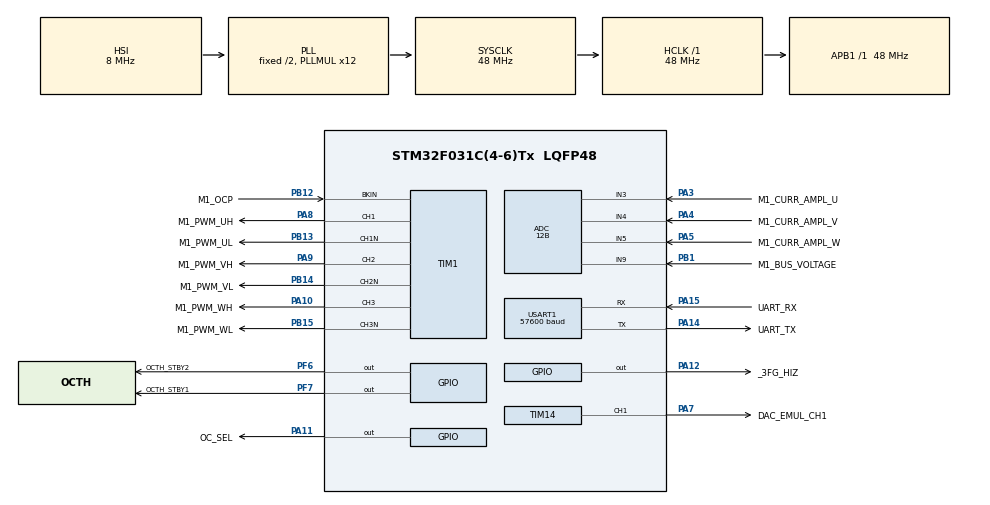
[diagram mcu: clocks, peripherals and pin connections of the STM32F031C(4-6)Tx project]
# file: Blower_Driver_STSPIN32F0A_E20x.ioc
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ADC.ClockPrescaler=ADC_CLOCK_ASYNC_DIV1
ADC.ContinuousConvMode=DISABLE
ADC.DMAContinuousRequests=ENABLE
ADC.DataAlign=ADC_DATAALIGN_LEFT
ADC.DiscontinuousConvMode=DISABLE
ADC.EOCSelection=ADC_EOC_SINGLE_CONV
ADC.EnableAnalogWatchDog=false
ADC.ExternalTrigConv=ADC_EXTERNALTRIGCONV_T1_TRGO
ADC.ExternalTrigConvEdge=ADC_EXTERNALTRIGCONVEDGE_RISING
ADC.LowPowerAutoPowerOff=DISABLE
ADC.LowPowerAutoWait=DISABLE
ADC.Overrun=ADC_OVR_DATA_PRESERVED
ADC.Resolution=ADC_RESOLUTION_12B
ADC.SamplingTime=ADC_SAMPLETIME_7CYCLES_5
ADC.ScanConvMode=ADC_SCAN_DIRECTION_FORWARD
Dma.ADC.0.Direction=DMA_PERIPH_TO_MEMORY
Dma.ADC.0.Instance=DMA1_Channel1
Dma.ADC.0.MemDataAlignment=DMA_MDATAALIGN_HALFWORD
Dma.ADC.0.MemInc=DMA_MINC_ENABLE
Dma.ADC.0.Mode=DMA_CIRCULAR
Dma.ADC.0.PeriphDataAlignment=DMA_PDATAALIGN_HALFWORD
Dma.ADC.0.PeriphInc=DMA_PINC_DISABLE
Dma.ADC.0.Priority=DMA_PRIORITY_HIGH
Dma.Request0=ADC
Dma.Request1=USART1_RX
Dma.Request2=USART1_TX
Dma.USART1_RX.1.Direction=DMA_PERIPH_TO_MEMORY
Dma.USART1_RX.1.Instance=DMA1_Channel3
Dma.USART1_RX.1.MemDataAlignment=DMA_MDATAALIGN_BYTE
Dma.USART1_RX.1.MemInc=DMA_MINC_ENABLE
Dma.USART1_RX.1.Mode=DMA_NORMAL
Dma.USART1_RX.1.PeriphDataAlignment=DMA_PDATAALIGN_BYTE
Dma.USART1_RX.1.PeriphInc=DMA_PINC_DISABLE
Dma.USART1_RX.1.Priority=DMA_PRIORITY_MEDIUM
Dma.USART1_TX.2.Direction=DMA_MEMORY_TO_PERIPH
Dma.USART1_TX.2.Instance=DMA1_Channel2
Dma.USART1_TX.2.MemDataAlignment=DMA_MDATAALIGN_BYTE
Dma.USART1_TX.2.MemInc=DMA_MINC_ENABLE
Dma.USART1_TX.2.Mode=DMA_NORMAL
Dma.USART1_TX.2.PeriphDataAlignment=DMA_PDATAALIGN_BYTE
Dma.USART1_TX.2.PeriphInc=DMA_PINC_DISABLE
Dma.USART1_TX.2.Priority=DMA_PRIORITY_LOW
ExtraMW=MotorControl
ExtraMW.MotorControl.Config=MotorControl
ExtraMW.MotorControl.Mode=MotorControl
ExtraMW.MotorControl.Root=MCSDK_v5.4.8/MotorControl
ExtraMW.MotorControl.Template=templates
Mcu.Family=STM32F0
Mcu.Name=STM32F031C(4-6)Tx
Mcu.Package=LQFP48
MotorControl.ADC_1_PERIPH=ADC1
MotorControl.ADC_2_PERIPH=ADC2
MotorControl.ADC_AHBPERIPH=RCC_AHBPeriph_ADC12
MotorControl.ADC_CLOCK_WB_DIV=1
MotorControl.ADC_CLOCK_WB_FREQ=12
MotorControl.ADC_PERIPH=ADC1
MotorControl.ADC_REFERENCE_VOLTAGE=3.30
MotorControl.ALIGNMENT_ANGLE_DEG=90
MotorControl.ALIGNMENT_DURATION=700
MotorControl.AMPLIFICATION_GAIN=7.70
MotorControl.ANGC={0,0,0,0,0,0,0,0}
MotorControl.BEMF_CONSISTENCY_GAIN=64
MotorControl.BEMF_CONSISTENCY_TOL=64
MotorControl.BKIN1_FILTER=0
MotorControl.BKIN2_FILTER=0
MotorControl.BKIN2_MODE=NONE
MotorControl.BKIN_MODE=EXT_MODE
MotorControl.BOARD=CUSTOM
MotorControl.BRKIN2_GPIO_AF=GPIO_AF_2
MotorControl.BRKIN_GPIO_AF=GPIO_AF_2
MotorControl.BUS_VOLTAGE_READING=true
MotorControl.CCMRAM_ENABLED=false
MotorControl.CLOCK_FREQUENCY=CPU_CLK_48_MHZ
MotorControl.CLOCK_SOURCE=INTERNAL
MotorControl.CONSTANT1_D=3416
MotorControl.CONSTANT1_Q=3416
MotorControl.CONSTANT2_QD=1110
MotorControl.CORD_BEMF_CONSISTENCY_GAIN=64
MotorControl.CORD_BEMF_CONSISTENCY_TOL=64
MotorControl.CORD_F1=1024
MotorControl.CORD_F2=16384
MotorControl.CORD_FIFO_DEPTH_01HZ=64
MotorControl.CORD_FIFO_DEPTH_DPP=64
MotorControl.CORD_GAIN1=-752
MotorControl.CORD_GAIN2=5187
MotorControl.CORD_MAX_ACCEL_DPPP=39
MotorControl.CORD_MEAS_ERRORS_BEFORE_FAULTS=12
MotorControl.CORD_VARIANCE_THRESHOLD=4
MotorControl.CPU_CLK_48_MHZ=true
MotorControl.CTRBDID=10010
MotorControl.CUBE_MX_VER=6.6.1
MotorControl.CURRENT_READING_TOPOLOGY=THREE_SHUNT
MotorControl.CURR_SAMPLING_TIME=1
MotorControl.DAC_EMULATED=true
MotorControl.DAC_EMULATED_1=CH1
MotorControl.DAC_FUNCTIONALITY=true
MotorControl.DAC_TIMER_CH1_GPIO_PIN=LL_GPIO_PIN_7
MotorControl.DAC_TIMER_CH1_GPIO_PORT=GPIOA
MotorControl.DAC_TIMER_CH2_GPIO_PIN=LL_GPIO_PIN_0
MotorControl.DAC_TIMER_CH2_GPIO_PORT=GPIOA
MotorControl.DAC_TIMER_SELECTION=TIM14
MotorControl.DC_CURRENT_RS_MEAS=3.50
MotorControl.DEBUG_DAC_CH1=true
MotorControl.DEBUG_DAC_CH2=false
MotorControl.DEFAULT_CONTROL_MODE=STC_SPEED_MODE
MotorControl.DEFAULT_DAC_CHANNEL_1=MC_PROTOCOL_REG_OBS_EL_ANGLE
MotorControl.DEFAULT_DAC_CHANNEL_2=MC_PROTOCOL_REG_I_B
MotorControl.DEFAULT_DAC_MOTOR=0
MotorControl.DEFAULT_FLUX_COMPONENT=0
MotorControl.DEFAULT_TARGET_SPEED_RPM=10000
MotorControl.DEFAULT_TORQUE_COMPONENT=0
MotorControl.DISSIPATIVE_BRAKE_POLARITY=DOUT_ACTIVE_HIGH
MotorControl.DRIVES_NUMBER_SELECTION=SINGLEDRIVE
MotorControl.EMERGENCY2_STOP_GPIO_PIN=LL_GPIO_PIN_12
MotorControl.EMERGENCY2_STOP_GPIO_PORT=GPIOB
MotorControl.EMERGENCY_STOP_GPIO_PIN=LL_GPIO_PIN_12
MotorControl.EMERGENCY_STOP_GPIO_PORT=GPIOB
MotorControl.ENABLE_SL_ALGO_FROM_PHASE=1
MotorControl.ENCODER_AVAILABLE=true
MotorControl.ENCODER_PPR=400
MotorControl.ENC_AVERAGING_FIFO_DEPTH=16
MotorControl.ENC_A_GPIO_PIN=LL_GPIO_PIN_0
MotorControl.ENC_A_GPIO_PORT=GPIOA
MotorControl.ENC_B_GPIO_PIN=LL_GPIO_PIN_1
MotorControl.ENC_B_GPIO_PORT=GPIOA
MotorControl.ENC_ICx_FILTER=34
MotorControl.ENC_INVERT_SPEED=false
MotorControl.ENC_MEAS_ERRORS_BEFORE_FAULTS=12
MotorControl.ENC_TIMER_REMAPPING=NO_REMAP_TIM2
MotorControl.ENC_TIMER_SELECTION=ENC_TIM2
MotorControl.ENC_USE_CH3=false
MotorControl.EXT_CLOCK_FREQUENCY=INT_RC_OSC
MotorControl.F1=1024
MotorControl.F2=16384
MotorControl.FEEDBACK_NET_FILTERING=false
MotorControl.FEED_FORWARD_CURRENT_REG_ENABLING=false
MotorControl.FINAL_I_ALIGNMENT=11927
MotorControl.FLUX_WEAKENING_ENABLING=false
MotorControl.FW_KIDIV=32768
MotorControl.FW_KI_GAIN=5000
MotorControl.FW_KPDIV=32768
MotorControl.FW_KP_GAIN=3000
MotorControl.FW_VOLTAGE_REF=985
MotorControl.GAIN1=-752
MotorControl.GAIN2=5187
MotorControl.H1_GPIO_PIN=LL_GPIO_PIN_0
MotorControl.H1_GPIO_PORT=GPIOA
MotorControl.H2_GPIO_PIN=LL_GPIO_PIN_1
MotorControl.H2_GPIO_PORT=GPIOA
MotorControl.H3_GPIO_PIN=LL_GPIO_PIN_2
MotorControl.H3_GPIO_PORT=GPIOA
MotorControl.HALL_AVERAGING_FIFO_DEPTH=6
MotorControl.HALL_ICx_FILTER=62
MotorControl.HALL_MEAS_ERRORS_BEFORE_FAULTS=12
MotorControl.HALL_MTPA=false
MotorControl.HALL_PHASE_SHIFT=300
MotorControl.HALL_SENSORS_AVAILABLE=true
MotorControl.HALL_SENSORS_PLACEMENT=DEGREES_120
MotorControl.HALL_TIMER_REMAPPING=NO_REMAP_TIM2
MotorControl.HALL_TIMER_SELECTION=HALL_TIM2
MotorControl.HFI_AMPLITUDE=25
MotorControl.HFI_DC_0_COEFF=0.00146
MotorControl.HFI_DC_1_COEFF=0.002921
MotorControl.HFI_DC_2_COEFF=0.00146
MotorControl.HFI_DC_3_COEFF=1.889033
MotorControl.HFI_DC_4_COEFF=-0.894874
MotorControl.HFI_DEBUG_MODE=false
MotorControl.HFI_FREQUENCY=400
MotorControl.HFI_HIFRAMPLSCAN=25
MotorControl.HFI_HP_ID_0_COEFF=0.914969
MotorControl.HFI_HP_ID_1_COEFF=-1.829938
MotorControl.HFI_HP_ID_2_COEFF=0.914969
MotorControl.HFI_HP_ID_3_COEFF=1.822695
MotorControl.HFI_HP_ID_4_COEFF=-0.837182
MotorControl.HFI_IDH_DELAY=32400
MotorControl.HFI_LOCKFREQ=47
MotorControl.HFI_LP_ID_0_COEFF=0.011649
MotorControl.HFI_LP_ID_1_COEFF=0.023299
MotorControl.HFI_LP_ID_2_COEFF=0.011649
MotorControl.HFI_LP_ID_3_COEFF=1.672313
MotorControl.HFI_LP_ID_4_COEFF=-0.718911
MotorControl.HFI_MAXANGLEDIFF=3640
MotorControl.HFI_MINIMUM_SPEED_RPM=402
MotorControl.HFI_NOTCH_IQD_0_COEFF=0.957268
MotorControl.HFI_NOTCH_IQD_1_COEFF=-1.883769
MotorControl.HFI_NOTCH_IQD_2_COEFF=0.957268
MotorControl.HFI_NOTCH_IQD_3_COEFF=1.883769
MotorControl.HFI_NOTCH_IQD_4_COEFF=-0.914537
MotorControl.HFI_NSDETPOINTSSKIP=10
MotorControl.HFI_NSMAXDETPOINTS=20
MotorControl.HFI_NS_MIN_SAT_DIFF=0
MotorControl.HFI_PID_KIDIV=32768
MotorControl.HFI_PID_KI_DEFAULT=400
MotorControl.HFI_PID_KPDIV=16384
MotorControl.HFI_PID_KP_DEFAULT=800
MotorControl.HFI_PLL_KI_DEFAULT=0.00400
MotorControl.HFI_PLL_KP_DEFAULT=0.00060
MotorControl.HFI_RESTARTTIMESEC=0.1
MotorControl.HFI_RESTART_RPM_TH=(((HFI_STO_RPM_TH)+(STO_HFI_RPM_TH))/2)
MotorControl.HFI_REVERT_DIRECTION=true
MotorControl.HFI_SCANROTATIONSNO=3
MotorControl.HFI_SPD_BUFFER_DEPTH_01HZ=64
MotorControl.HFI_STEPANGLE=3640
MotorControl.HFI_STO_RPM_TH=OBS_MINIMUM_SPEED_RPM
MotorControl.HFI_WAITAFTERNS2=4
MotorControl.HFI_WAITBEFORESN=6
MotorControl.HFI_WAITSYNCH=20
MotorControl.HFI_WAITTRACK=20
MotorControl.HIGH_SIDE_BRAKE_STATE=false
MotorControl.HIGH_SIDE_IDLE_STATE=false
MotorControl.HW_COMPLEMENTED_LOW_SIDE=false
MotorControl.HW_DEAD_TIME_NS=100
MotorControl.HW_OV_CURRENT_PROT_BYPASS=false
MotorControl.ID_DEMAG=-21407
MotorControl.INRUSH_CURRLIMIT_AT_POWER_ON=true
MotorControl.INRUSH_CURRLIMIT_CHANGE_AFTER_MS=1000
MotorControl.INRUSH_CURRLIMIT_ENABLING=false
MotorControl.INRUSH_CURRLIMIT_GPIO_PIN=LL_GPIO_PIN_4
MotorControl.INRUSH_CURRLIMIT_GPIO_PORT=GPIOE
MotorControl.INRUSH_CURR_LIMITER_POLARITY=DOUT_ACTIVE_HIGH
MotorControl.INTERNAL_OVERCURRENTPROTECTION=false
MotorControl.INTERNAL_OVERVOLTAGEPROTECTION=false
MotorControl.INT_RC_OSC=true
MotorControl.IPs=NVIC,RCC,SYS,MotorControl,TIM1,ADC,DMA,TIM14,USART1
MotorControl.IQMAX=21407
MotorControl.LCD_JOYSTICK_FUNCTIONALITY=false
MotorControl.LCD_MODE=LCD_FULL
MotorControl.LDLQ_RATIO=1.000
MotorControl.LOW_SIDE_BRAKE_STATE=false
MotorControl.LOW_SIDE_IDLE_STATE=false
MotorControl.LOW_SIDE_SIGNALS_ENABLING=LS_PWM_TIMER
MotorControl.LS=0.000028
MotorControl.MAX_APPLICATION_SPEED=55000
MotorControl.MAX_MODULATION_83_PER_CENT=true
MotorControl.MAX_MODULATION_INDEX=MAX_MODULATION_83_PER_CENT
MotorControl.MCU=STSPIN32F0
MotorControl.MCU_TYPE=STSPIN32F0
MotorControl.MC_WORKBENCH_VERSION=5.4.8.21553
MotorControl.MEAS_ERRORS_BEFORE_FAULTS=12
MotorControl.MIN_APPLICATION_SPEED=0
MotorControl.MOTOR_MAX_SPEED_RPM=55000
MotorControl.MOTOR_TYPE=PMSM
MotorControl.MOTOR_VOLTAGE_CONSTANT=0.1
MotorControl.MTPA_ENABLING=false
MotorControl.NB_CONSECUTIVE_TESTS=2
MotorControl.NOMINAL_BUS_VOLTAGE_V=16
MotorControl.NOMINAL_CURRENT=21407
MotorControl.OBS_MEAS_ERRORS_BEFORE_FAULTS=12
MotorControl.OBS_MINIMUM_SPEED_RPM=9000
MotorControl.OCPA_INVERTINGINPUT=COMPX_InvertingInput_VREF
MotorControl.OCPA_INVERTINGINPUT_GPIO_PIN=LL_GPIO_PIN_4
MotorControl.OCPA_INVERTINGINPUT_GPIO_PORT=GPIOA
MotorControl.OCPA_INVERTINGINPUT_MODE=INT_MODE
MotorControl.OCPA_NONINVERTINGINPUT=COMP1_NonInvertingInput_PA1
MotorControl.OCPA_NONINVERTINGINPUT_GPIO_PIN=LL_GPIO_PIN_1
MotorControl.OCPA_NONINVERTINGINPUT_GPIO_PORT=GPIOA
MotorControl.OCPA_OUTPUT=COMP_Output_TIM1BKIN2
MotorControl.OCPA_OUTPUTPOL=COMP_OutputPol_NonInverted
MotorControl.OCPA_OUTPUT_GPIO_AF=GPIO_AF_2
MotorControl.OCPA_OUTPUT_GPIO_PIN=LL_GPIO_PIN_0
MotorControl.OCPA_OUTPUT_GPIO_PORT=GPIOA
MotorControl.OCPA_OUTPUT_MODE=INT_MODE
MotorControl.OCPA_SELECTION=COMP1
MotorControl.OCPB_INVERTINGINPUT=COMPX_InvertingInput_VREF
MotorControl.OCPB_INVERTINGINPUT_GPIO_PIN=LL_GPIO_PIN_4
MotorControl.OCPB_INVERTINGINPUT_GPIO_PORT=GPIOA
MotorControl.OCPB_INVERTINGINPUT_MODE=INT_MODE
MotorControl.OCPB_NONINVERTINGINPUT=COMP2_NonInvertingInput_PA7
MotorControl.OCPB_NONINVERTINGINPUT_GPIO_PIN=LL_GPIO_PIN_7
MotorControl.OCPB_NONINVERTINGINPUT_GPIO_PORT=GPIOA
MotorControl.OCPB_OUTPUT=COMP_Output_TIM1BKIN2
MotorControl.OCPB_OUTPUTPOL=COMP_OutputPol_NonInverted
MotorControl.OCPB_OUTPUT_GPIO_AF=GPIO_AF_2
MotorControl.OCPB_OUTPUT_GPIO_PIN=LL_GPIO_PIN_2
MotorControl.OCPB_OUTPUT_GPIO_PORT=GPIOA
MotorControl.OCPB_OUTPUT_MODE=INT_MODE
MotorControl.OCPB_SELECTION=COMP2
MotorControl.OCPC_INVERTINGINPUT=COMPX_InvertingInput_VREF
MotorControl.OCPC_INVERTINGINPUT_GPIO_PIN=LL_GPIO_PIN_4
MotorControl.OCPC_INVERTINGINPUT_GPIO_PORT=GPIOA
MotorControl.OCPC_INVERTINGINPUT_MODE=INT_MODE
MotorControl.OCPC_NONINVERTINGINPUT=COMP3_NonInvertingInput_PB14
MotorControl.OCPC_NONINVERTINGINPUT_GPIO_PIN=LL_GPIO_PIN_14
MotorControl.OCPC_NONINVERTINGINPUT_GPIO_PORT=GPIOB
MotorControl.OCPC_OUTPUT=COMP_Output_TIM1BKIN2
MotorControl.OCPC_OUTPUTPOL=COMP_OutputPol_NonInverted
MotorControl.OCPC_OUTPUT_GPIO_AF=GPIO_AF_2
MotorControl.OCPC_OUTPUT_GPIO_PIN=LL_GPIO_PIN_8
MotorControl.OCPC_OUTPUT_GPIO_PORT=GPIOC
MotorControl.OCPC_OUTPUT_MODE=INT_MODE
MotorControl.OCPC_SELECTION=COMP3
MotorControl.OCPREF=23830
MotorControl.OCP_COMP_THRESHOLD=0.10
MotorControl.OCP_FILTER=COMP_Mode_HighSpeed
MotorControl.OCP_INVERTINGINPUT=COMPX_InvertingInput_VREF
MotorControl.OCP_INVERTINGINPUT_GPIO_PIN=LL_GPIO_PIN_4
MotorControl.OCP_INVERTINGINPUT_GPIO_PORT=GPIOA
MotorControl.OCP_INVERTINGINPUT_MODE=INT_MODE
MotorControl.OCP_NONINVERTINGINPUT=COMP2_NonInvertingInput_PA7
MotorControl.OCP_NONINVERTINGINPUT_GPIO_PIN=LL_GPIO_PIN_7
MotorControl.OCP_NONINVERTINGINPUT_GPIO_PORT=GPIOA
MotorControl.OCP_OUTPUT=COMP_Output_TIM1BKIN2
MotorControl.OCP_OUTPUTPOL=COMP_OutputPol_NonInverted
MotorControl.OCP_OUTPUT_GPIO_AF=GPIO_AF_2
MotorControl.OCP_OUTPUT_GPIO_PIN=LL_GPIO_PIN_2
MotorControl.OCP_OUTPUT_GPIO_PORT=GPIOA
MotorControl.OCP_OUTPUT_MODE=INT_MODE
MotorControl.OCP_SELECTION=COMP2
MotorControl.OFST={0,0,0,0,0,0,0,0}
MotorControl.ON_OVER_VOLTAGE=TURN_OFF_PWM
MotorControl.OPAMP1_INVERTINGINPUT=OPAMP1_InvertingInput_PGA
MotorControl.OPAMP1_INVERTINGINPUT_GPIO_PIN=LL_GPIO_PIN_3
MotorControl.OPAMP1_INVERTINGINPUT_GPIO_PORT=GPIOA
MotorControl.OPAMP1_INVERTINGINPUT_MODE=INT_MODE
MotorControl.OPAMP1_NONINVERTINGINPUT_PHA=OPAMP1_NonInvertingInput_PA1
MotorControl.OPAMP1_NONINVERTINGINPUT_PHA_GPIO_PIN=LL_GPIO_PIN_1
MotorControl.OPAMP1_NONINVERTINGINPUT_PHA_GPIO_PORT=GPIOA
MotorControl.OPAMP1_NONINVERTINGINPUT_PHB=OPAMP1_NonInvertingInput_PA7
MotorControl.OPAMP1_NONINVERTINGINPUT_PHB_GPIO_PIN=LL_GPIO_PIN_7
MotorControl.OPAMP1_NONINVERTINGINPUT_PHB_GPIO_PORT=GPIOA
MotorControl.OPAMP1_OUT_GPIO_PIN=LL_GPIO_PIN_2
MotorControl.OPAMP1_OUT_GPIO_PORT=GPIOA
MotorControl.OPAMP1_SELECTION=OPAMP1
MotorControl.OPAMP2_INVERTINGINPUT=OPAMP2_InvertingInput_PGA
MotorControl.OPAMP2_INVERTINGINPUT_GPIO_PIN=LL_GPIO_PIN_5
MotorControl.OPAMP2_INVERTINGINPUT_GPIO_PORT=GPIOC
MotorControl.OPAMP2_INVERTINGINPUT_MODE=INT_MODE
MotorControl.OPAMP2_NONINVERTINGINPUT_PHA=OPAMP2_NonInvertingInput_PB14
MotorControl.OPAMP2_NONINVERTINGINPUT_PHA_GPIO_PIN=LL_GPIO_PIN_14
MotorControl.OPAMP2_NONINVERTINGINPUT_PHA_GPIO_PORT=GPIOB
MotorControl.OPAMP2_NONINVERTINGINPUT_PHB=OPAMP2_NonInvertingInput_PA7
MotorControl.OPAMP2_NONINVERTINGINPUT_PHB_GPIO_PIN=LL_GPIO_PIN_7
MotorControl.OPAMP2_NONINVERTINGINPUT_PHB_GPIO_PORT=GPIOA
MotorControl.OPAMP2_NONINVERTINGINPUT_PHC=OPAMP2_NonInvertingInput_PB14
MotorControl.OPAMP2_NONINVERTINGINPUT_PHC_GPIO_PIN=LL_GPIO_PIN_14
MotorControl.OPAMP2_NONINVERTINGINPUT_PHC_GPIO_PORT=GPIOB
MotorControl.OPAMP2_OUT_GPIO_PIN=LL_GPIO_PIN_6
MotorControl.OPAMP2_OUT_GPIO_PORT=GPIOA
MotorControl.OPAMP2_SELECTION=OPAMP2
MotorControl.OPAMP3_INVERTINGINPUT=OPAMP1_InvertingInput_PGA
MotorControl.OPAMP3_INVERTINGINPUT_GPIO_PIN=LL_GPIO_PIN_0
MotorControl.OPAMP3_INVERTINGINPUT_GPIO_PORT=GPIOA
MotorControl.OPAMP3_INVERTINGINPUT_MODE=INT_MODE
MotorControl.OPAMP3_SELECTION=OPAMP1
MotorControl.OPAMP_INVERTINGINPUT=OPAMP1_InvertingInput_PGA
MotorControl.OPAMP_INVERTINGINPUT_GPIO_PIN=LL_GPIO_PIN_3
MotorControl.OPAMP_INVERTINGINPUT_GPIO_PORT=GPIOA
MotorControl.OPAMP_INVERTINGINPUT_MODE=INT_MODE
MotorControl.OPAMP_NONINVERTINGINPUT=OPAMP1_NonInvertingInput_PA7
MotorControl.OPAMP_NONINVERTINGINPUT_GPIO_PIN=LL_GPIO_PIN_7
MotorControl.OPAMP_NONINVERTINGINPUT_GPIO_PORT=GPIOA
MotorControl.OPAMP_OUT_GPIO_PIN=LL_GPIO_PIN_2
MotorControl.OPAMP_OUT_GPIO_PORT=GPIOA
MotorControl.OPAMP_PGACONNECT=OPAMP_PGAConnect_No
MotorControl.OPAMP_PGAGAIN=OPAMP_OPAMP_PGAGain_2
MotorControl.OPAMP_SELECTION=OPAMP1
MotorControl.OPAMP_TYPE_GAIN=INTERNAL
MotorControl.OPEN_LOOP_FOC=false
MotorControl.OPEN_LOOP_K=44
MotorControl.OPEN_LOOP_OFF=4400
MotorControl.OPEN_LOOP_SPEED_RAMP_DURATION_MS=1000
MotorControl.OPEN_LOOP_SPEED_RPM=100
MotorControl.OPEN_LOOP_VF=false
MotorControl.OPEN_LOOP_VOLTAGE_d=6000
MotorControl.OVERCURR_FEEDBACK_POLARITY=EMSTOP_ACTIVE_HIGH
MotorControl.OVERCURR_PROTECTION_HW_DISABLING=DOUT_ACTIVE_HIGH
MotorControl.OVPREF=23830
MotorControl.OVP_FILTER=COMP_Mode_HighSpeed
MotorControl.OVP_INVERTINGINPUT=COMPX_InvertingInput_VREF
MotorControl.OVP_INVERTINGINPUT_GPIO_PIN=LL_GPIO_PIN_4
MotorControl.OVP_INVERTINGINPUT_GPIO_PORT=GPIOA
MotorControl.OVP_INVERTINGINPUT_MODE=INT_MODE
MotorControl.OVP_NONINVERTINGINPUT=COMP7_NonInvertingInput_PA0
MotorControl.OVP_NONINVERTINGINPUT_GPIO_PIN=LL_GPIO_PIN_0
MotorControl.OVP_NONINVERTINGINPUT_GPIO_PORT=GPIOA
MotorControl.OVP_OUTPUT=COMP_Output_TIM1BKIN
MotorControl.OVP_OUTPUTPOL=COMP_OutputPol_NonInverted
MotorControl.OVP_OUTPUT_GPIO_AF=GPIO_AF_2
MotorControl.OVP_OUTPUT_GPIO_PIN=LL_GPIO_PIN_2
MotorControl.OVP_OUTPUT_GPIO_PORT=GPIOC
MotorControl.OVP_OUTPUT_MODE=INT_MODE
MotorControl.OVP_SELECTION=COMP7
MotorControl.OV_CURR_BYPASS_GPIO_PIN=LL_GPIO_PIN_5
MotorControl.OV_CURR_BYPASS_GPIO_PORT=GPIOE
MotorControl.OV_TEMPERATURE_HYSTERESIS_C=10
MotorControl.OV_TEMPERATURE_PROT_ENABLING=false
MotorControl.OV_TEMPERATURE_THRESHOLD_C=70
MotorControl.OV_VOLTAGE_PROT_ENABLING=true
MotorControl.OV_VOLTAGE_THRESHOLD_V=45
MotorControl.PHASE1_DURATION=500
MotorControl.PHASE1_FINAL_CURRENT=6116
MotorControl.PHASE1_FINAL_SPEED_RPM=0
MotorControl.PHASE2_DURATION=3000
MotorControl.PHASE2_FINAL_CURRENT=6116
MotorControl.PHASE2_FINAL_SPEED_RPM=10000
MotorControl.PHASE3_DURATION=0
MotorControl.PHASE3_FINAL_CURRENT=6116
MotorControl.PHASE3_FINAL_SPEED_RPM=10000
MotorControl.PHASE4_DURATION=0
MotorControl.PHASE4_FINAL_CURRENT=6116
MotorControl.PHASE4_FINAL_SPEED_RPM=10000
MotorControl.PHASE5_DURATION=0
MotorControl.PHASE5_FINAL_CURRENT=6116
MotorControl.PHASE5_FINAL_SPEED_RPM=10000
MotorControl.PHASE_CURRENTS_ADC=ADC1_2
MotorControl.PHASE_CURRENTS_CHANNEL=ADC_CHANNEL_9
MotorControl.PHASE_CURRENTS_GPIO_PIN=LL_GPIO_PIN_0
MotorControl.PHASE_CURRENTS_GPIO_PORT=GPIOA
MotorControl.PHASE_UH_GPIO_AF=GPIO_AF_2
MotorControl.PHASE_UH_GPIO_PIN=LL_GPIO_PIN_8
MotorControl.PHASE_UH_GPIO_PORT=GPIOA
MotorControl.PHASE_UH_POLARITY=H_ACTIVE_HIGH
MotorControl.PHASE_UL_GPIO_AF=GPIO_AF_2
MotorControl.PHASE_UL_GPIO_PIN=LL_GPIO_PIN_13
MotorControl.PHASE_UL_GPIO_PORT=GPIOB
MotorControl.PHASE_UL_POLARITY=L_ACTIVE_HIGH
MotorControl.PHASE_U_CURR_ADC=ADC1
MotorControl.PHASE_U_CURR_CHANNEL=ADC_CHANNEL_3
MotorControl.PHASE_U_GPIO_PIN=LL_GPIO_PIN_3
MotorControl.PHASE_U_GPIO_PORT=GPIOA
MotorControl.PHASE_VH_GPIO_AF=GPIO_AF_2
MotorControl.PHASE_VH_GPIO_PIN=LL_GPIO_PIN_9
MotorControl.PHASE_VH_GPIO_PORT=GPIOA
MotorControl.PHASE_VH_POLARITY=H_ACTIVE_HIGH
MotorControl.PHASE_VL_GPIO_AF=GPIO_AF_2
MotorControl.PHASE_VL_GPIO_PIN=LL_GPIO_PIN_14
MotorControl.PHASE_VL_GPIO_PORT=GPIOB
MotorControl.PHASE_VL_POLARITY=L_ACTIVE_HIGH
MotorControl.PHASE_V_CURR_ADC=ADC1
MotorControl.PHASE_V_CURR_CHANNEL=ADC_CHANNEL_4
MotorControl.PHASE_V_GPIO_PIN=LL_GPIO_PIN_4
MotorControl.PHASE_V_GPIO_PORT=GPIOA
MotorControl.PHASE_WH_GPIO_AF=GPIO_AF_2
MotorControl.PHASE_WH_GPIO_PIN=LL_GPIO_PIN_10
MotorControl.PHASE_WH_GPIO_PORT=GPIOA
MotorControl.PHASE_WH_POLARITY=H_ACTIVE_HIGH
MotorControl.PHASE_WL_GPIO_AF=GPIO_AF_2
MotorControl.PHASE_WL_GPIO_PIN=LL_GPIO_PIN_15
MotorControl.PHASE_WL_GPIO_PORT=GPIOB
MotorControl.PHASE_WL_POLARITY=L_ACTIVE_HIGH
MotorControl.PHASE_W_CURR_ADC=ADC1
MotorControl.PHASE_W_CURR_CHANNEL=ADC_CHANNEL_5
MotorControl.PHASE_W_GPIO_PIN=LL_GPIO_PIN_5
MotorControl.PHASE_W_GPIO_PORT=GPIOA
MotorControl.PID_FLUX_KD_DEFAULT=100
MotorControl.PID_FLUX_KI_DEFAULT=1881
MotorControl.PID_FLUX_KP_DEFAULT=1843
MotorControl.PID_SPEED_KD_DEFAULT=0
MotorControl.PID_SPEED_KI_DEFAULT=3230
MotorControl.PID_SPEED_KP_DEFAULT=3155
MotorControl.PID_TORQUE_KD_DEFAULT=100
MotorControl.PID_TORQUE_KI_DEFAULT=1881
MotorControl.PID_TORQUE_KP_DEFAULT=1843
MotorControl.PLL_KI_GAIN=211
MotorControl.PLL_KP_GAIN=4180
MotorControl.POLE_PAIR_NUM=2
MotorControl.POSITION_CTRL_ENABLING=false
MotorControl.PWBDID=10010
MotorControl.PWM_FREQUENCY=28000
MotorControl.PWM_TIMER_REMAPPING=PWM_NO_REMAP
MotorControl.PWM_TIMER_SELECTION=PWM_TIM1
MotorControl.REGCONVADC=ADC1
MotorControl.REGULATION_EXECUTION_RATE=2
MotorControl.RS=0.40
MotorControl.RSHUNT=0.04000
MotorControl.RTOS=NONE
MotorControl.R_BRAKE_GPIO_PIN=LL_GPIO_PIN_5
MotorControl.R_BRAKE_GPIO_PORT=GPIOE
MotorControl.R_BRAKE_SWITCH_OFF_THRES_V=36
MotorControl.SEGDIV=0
MotorControl.SERIAL_COMMUNICATION=false
MotorControl.SERIAL_COM_CHANNEL1=MC_PROTOCOL_REG_I_A
MotorControl.SERIAL_COM_CHANNEL2=MC_PROTOCOL_REG_I_A
MotorControl.SERIAL_COM_MODE=COM_BIDIRECTIONAL
MotorControl.SERIAL_COM_MOTOR=0
MotorControl.SHARED_SIGNAL_ENABLE=false
MotorControl.SINGLEDRIVE=true
MotorControl.SPD_DIFFERENTIAL_TERM_ENABLING=false
MotorControl.SPEED_BAND_LOWER_LIMIT=15
MotorControl.SPEED_BAND_UPPER_LIMIT=17
MotorControl.SPEED_FEEDBACK_CHECK=true
MotorControl.SPEED_LOOP_FREQUENCY_HZ=500
MotorControl.SPEED_SENSOR_SELECTION=STATE_OBSERVER_PLL
MotorControl.SP_KDDIV=16
MotorControl.SP_KIDIV=16384
MotorControl.SP_KPDIV=32
MotorControl.STARTING_ANGLE_DEG=90
MotorControl.START_STOP_BTN=false
MotorControl.START_STOP_GPIO_PIN=LL_GPIO_PIN_0
MotorControl.START_STOP_GPIO_PORT=GPIOF
MotorControl.START_STOP_POLARITY=DIN_ACTIVE_LOW
MotorControl.START_STOP_POLARITY_EDGE=GPIO_PULLUP
MotorControl.STATE_OBSERVER_PLL=true
MotorControl.STO_FIFO_DEPTH_01HZ=64
MotorControl.STO_FIFO_DEPTH_DPP=64
MotorControl.STO_HFI_RPM_TH=460
MotorControl.STSPIN32F0=true
MotorControl.SW_DEADTIME_NS=700
MotorControl.SW_OV_CURRENT_PROT_ENABLING=true
MotorControl.T0_C=25
MotorControl.TEMPERATURE_READING=false
MotorControl.TEMP_ADC_SAMPLING_TIME=1
MotorControl.TEMP_FDBK_ADC=ADC1
MotorControl.TEMP_FDBK_CHANNEL=ADC_CHANNEL_5
MotorControl.TEMP_FDBK_GPIO_PIN=LL_GPIO_PIN_5
MotorControl.TEMP_FDBK_GPIO_PORT=GPIOA
MotorControl.TFDIFFERENTIAL_TERM_ENABLING=false
MotorControl.TF_KDDIV=8192
MotorControl.TF_KIDIV=16384
MotorControl.TF_KPDIV=16384
MotorControl.THREE_SHUNT=true
MotorControl.TNOISE_NS=1200
MotorControl.TRANSITION_DURATION=25
MotorControl.TRISE_NS=1200
MotorControl.T_MAX=70
MotorControl.UD_VOLTAGE_THRESHOLD_V=8
MotorControl.USART_REMAPPING=NO_REMAP_USART1
MotorControl.USART_RX_GPIO_PIN=LL_GPIO_PIN_7
MotorControl.USART_RX_GPIO_PORT=GPIOB
MotorControl.USART_SELECTION=USE_USART1
MotorControl.USART_SPEED=9600
MotorControl.USART_TX_GPIO_PIN=LL_GPIO_PIN_6
MotorControl.USART_TX_GPIO_PORT=GPIOB
MotorControl.USE_3OPAMPS=false
MotorControl.USE_INTERNAL_OPAMP=false
MotorControl.UV_VOLTAGE_PROT_ENABLING=true
MotorControl.V0_V=0.290
MotorControl.VARIANCE_THRESHOLD=0.2
MotorControl.VBUS_ADC=ADC1
MotorControl.VBUS_ADC_SAMPLING_TIME=28
MotorControl.VBUS_CHANNEL=ADC_CHANNEL_9
MotorControl.VBUS_GPIO_PIN=LL_GPIO_PIN_1
MotorControl.VBUS_GPIO_PORT=GPIOB
MotorControl.VBUS_PARTITIONING_FACTOR=0.0522
MotorControl.WB_to_Mx_template_version=21-11-15
MotorControl.WB_to_Mx_version=1.5.1
MotorControl.dV_dT=0.025
NVIC.DMA1_Channel1_IRQn=true\:1\:0\:true\:true\:false\:3\:true\:true\:true
NVIC.DMA1_Channel2_3_IRQn=true\:0\:0\:false\:false\:true\:false\:true\:true
NVIC.TIM1_BRK_UP_TRG_COM_IRQn=true\:0\:0\:false\:true\:false\:1\:true\:true\:true
NVIC.USART1_IRQn=true\:3\:0\:true\:true\:false\:4\:true\:true\:true
PA10.GPIO_Label=M1_PWM_WH
PA10.GPIO_PuPd=GPIO_PULLDOWN
PA10.GPIO_Speed=GPIO_SPEED_FREQ_HIGH
PA10.Signal=S_TIM1_CH3
PA11.GPIO_Label=OC_SEL
PA11.GPIO_PuPd=GPIO_PULLDOWN
PA11.PinState=GPIO_PIN_SET
PA11.Signal=GPIO_Output
PA12.GPIO_Label=_3FG_HIZ
PA12.GPIO_PuPd=GPIO_PULLDOWN
PA12.Signal=GPIO_Output
PA14.GPIO_Label=UART_TX
PA14.GPIO_PuPd=GPIO_NOPULL
PA14.GPIO_Speed=GPIO_SPEED_FREQ_LOW
PA14.Mode=Asynchronous
PA14.Signal=USART1_TX
PA15.GPIO_Label=UART_RX
PA15.GPIO_PuPd=GPIO_NOPULL
PA15.GPIO_Speed=GPIO_SPEED_FREQ_LOW
PA15.Mode=Asynchronous
PA15.Signal=USART1_RX
PA3.GPIO_Label=M1_CURR_AMPL_U
PA3.Mode=IN3
PA3.Signal=ADC_IN3
PA4.GPIO_Label=M1_CURR_AMPL_V
PA4.Mode=IN4
PA4.Signal=ADC_IN4
PA5.GPIO_Label=M1_CURR_AMPL_W
PA5.Mode=IN5
PA5.Signal=ADC_IN5
PA7.GPIO_Label=DAC_EMUL_CH1
PA7.Signal=S_TIM14_CH1
PA8.GPIO_Label=M1_PWM_UH
PA8.GPIO_PuPd=GPIO_PULLDOWN
PA8.GPIO_Speed=GPIO_SPEED_FREQ_HIGH
PA8.Signal=S_TIM1_CH1
PA9.GPIO_Label=M1_PWM_VH
PA9.GPIO_PuPd=GPIO_PULLDOWN
PA9.GPIO_Speed=GPIO_SPEED_FREQ_HIGH
PA9.Signal=S_TIM1_CH2
PB1.GPIO_Label=M1_BUS_VOLTAGE
PB1.Mode=IN9
PB1.Signal=ADC_IN9
PB12.GPIO_Label=M1_OCP
PB12.GPIO_PuPd=GPIO_PULLDOWN
PB12.Mode=Activate-Break-Input
PB12.Signal=TIM1_BKIN
PB13.GPIO_Label=M1_PWM_UL
PB13.GPIO_PuPd=GPIO_PULLDOWN
PB13.GPIO_Speed=GPIO_SPEED_FREQ_HIGH
PB13.Mode=PWM Generation1 CH1 CH1N
PB13.Signal=TIM1_CH1N
PB14.GPIO_Label=M1_PWM_VL
PB14.GPIO_PuPd=GPIO_PULLDOWN
PB14.GPIO_Speed=GPIO_SPEED_FREQ_HIGH
PB14.Mode=PWM Generation2 CH2 CH2N
PB14.Signal=TIM1_CH2N
PB15.GPIO_Label=M1_PWM_WL
PB15.GPIO_PuPd=GPIO_PULLDOWN
PB15.GPIO_Speed=GPIO_SPEED_FREQ_HIGH
PB15.Mode=PWM Generation3 CH3 CH3N
PB15.Signal=TIM1_CH3N
PF6.GPIO_Label=OCTH_STBY2
PF6.GPIO_PuPd=GPIO_PULLDOWN
PF6.PinState=GPIO_PIN_SET
PF6.Signal=GPIO_Output
PF7.GPIO_Label=OCTH_STBY1
PF7.GPIO_PuPd=GPIO_PULLDOWN
PF7.PinState=GPIO_PIN_RESET
PF7.Signal=GPIO_Output
ProjectManager.HeapSize=0x80
ProjectManager.StackSize=0x400
ProjectManager.TargetToolchain=STM32CubeIDE
RCC.AHBFreq_Value=48000000
RCC.APB1Freq_Value=48000000
RCC.APB1TimFreq_Value=48000000
RCC.EnbaleCSS=true
RCC.HCLKFreq_Value=48000000
RCC.PLLMUL=RCC_PLL_MUL12
RCC.SYSCLKFreq_VALUE=48000000
RCC.SYSCLKSource=RCC_SYSCLKSOURCE_PLLCLK
SH.S_TIM14_CH1.0=TIM14_CH1,PWM Generation1 CH1
SH.S_TIM1_CH1.0=TIM1_CH1,PWM Generation1 CH1 CH1N
SH.S_TIM1_CH2.0=TIM1_CH2,PWM Generation2 CH2 CH2N
SH.S_TIM1_CH3.0=TIM1_CH3,PWM Generation3 CH3 CH3N
TIM1.AutoReloadPreload=TIM_AUTORELOAD_PRELOAD_DISABLE
TIM1.AutomaticOutput=TIM_AUTOMATICOUTPUT_DISABLE
TIM1.BreakPolarity=TIM_BREAKPOLARITY_HIGH
TIM1.BreakState=TIM_BREAK_ENABLE
TIM1.Channel-PWM\ Generation1\ CH1\ CH1N=TIM_CHANNEL_1
TIM1.Channel-PWM\ Generation2\ CH2\ CH2N=TIM_CHANNEL_2
TIM1.Channel-PWM\ Generation3\ CH3\ CH3N=TIM_CHANNEL_3
TIM1.Channel-PWM\ Generation4\ No\ Output=TIM_CHANNEL_4
TIM1.ClockDivision=TIM_CLOCKDIVISION_DIV2
TIM1.CounterMode=TIM_COUNTERMODE_CENTERALIGNED1
TIM1.DeadTime=((DEAD_TIME_COUNTS) / 2)
TIM1.LockLevel=TIM_LOCKLEVEL_1
TIM1.OCIdleState_1=TIM_OCIDLESTATE_RESET
TIM1.OCIdleState_2=TIM_OCIDLESTATE_RESET
TIM1.OCIdleState_3=TIM_OCIDLESTATE_RESET
TIM1.OCIdleState_4=TIM_OCIDLESTATE_RESET
TIM1.OCMode_PWM-PWM\ Generation1\ CH1\ CH1N=TIM_OCMODE_PWM1
TIM1.OCMode_PWM-PWM\ Generation2\ CH2\ CH2N=TIM_OCMODE_PWM1
TIM1.OCMode_PWM-PWM\ Generation3\ CH3\ CH3N=TIM_OCMODE_PWM1
TIM1.OCMode_PWM-PWM\ Generation4\ No\ Output=TIM_OCMODE_PWM2
TIM1.OCNIdleState_1=TIM_OCNIDLESTATE_RESET
TIM1.OCNIdleState_2=TIM_OCNIDLESTATE_RESET
TIM1.OCNIdleState_3=TIM_OCNIDLESTATE_RESET
TIM1.OCNPolarity_1=TIM_OCNPOLARITY_HIGH
TIM1.OCNPolarity_2=TIM_OCNPOLARITY_HIGH
TIM1.OCNPolarity_3=TIM_OCNPOLARITY_HIGH
TIM1.OCPolarity_1=TIM_OCPOLARITY_HIGH
TIM1.OCPolarity_2=TIM_OCPOLARITY_HIGH
TIM1.OCPolarity_3=TIM_OCPOLARITY_HIGH
TIM1.OCPolarity_4=TIM_OCPOLARITY_HIGH
TIM1.OffStateIDLEMode=TIM_OSSI_ENABLE
TIM1.OffStateRunMode=TIM_OSSR_ENABLE
TIM1.Period=((PWM_PERIOD_CYCLES) / 2)
TIM1.Prescaler=((TIM_CLOCK_DIVIDER) - 1)
TIM1.Pulse-PWM\ Generation1\ CH1=((PWM_PERIOD_CYCLES) / 4)
TIM1.Pulse-PWM\ Generation2\ CH2=((PWM_PERIOD_CYCLES) / 4)
TIM1.Pulse-PWM\ Generation3\ CH3=((PWM_PERIOD_CYCLES) / 4)
TIM1.Pulse-PWM\ Generation4\ No\ Output=(((PWM_PERIOD_CYCLES) / 2) - (HTMIN))
TIM1.RepetitionCounter=(REP_COUNTER)
TIM1.TIM_MasterOutputTrigger=TIM_TRGO_OC4REF
TIM1.TIM_MasterSlaveMode=TIM_MASTERSLAVEMODE_DISABLE
TIM14.AutoReloadPreload=TIM_AUTORELOAD_PRELOAD_DISABLE
TIM14.Channel=TIM_CHANNEL_1
TIM14.ClockDivision=TIM_CLOCKDIVISION_DIV1
TIM14.CounterMode=TIM_COUNTERMODE_UP
TIM14.Period=0x800
TIM14.Prescaler=0
TIM14.Pulse=0x400
USART1.BaudRate=57600
USART1.VirtualMode-Asynchronous=VM_ASYNC
USART1.WordLength=WORDLENGTH_8B
VP_MotorControl_MC_ENABLED.Mode=Enabled
VP_TIM14_VS_ClockSourceINT.Mode=Enable_Timer
VP_TIM1_VS_no_output4.Mode=PWM Generation4 No Output
board=custom

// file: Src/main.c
/* USER CODE BEGIN Header */
/**
  ******************************************************************************
  * @file           : main.c
  * @brief          : Main program body
  ******************************************************************************
  * @attention
  *
  * Copyright (c) 2023 STMicroelectronics.
  * All rights reserved.
  *
  * This software is licensed under terms that can be found in the LICENSE file
  * in the root directory of this software component.
  * If no LICENSE file comes with this software, it is provided AS-IS.
  *
  ******************************************************************************
  */
/* USER CODE END Header */
#include "main.h"

/* USER CODE BEGIN Includes */
#include <stdio.h>
#include <stdlib.h>
#include <string.h>

#include "uart_m2m_comm.h"
#include "uart_m2m_comm_mc_cmds.h"
#include "uart_m2m_comm_frame.h"

#include "mc_config.h"
#include "mc_tasks.h"
/* USER CODE END Includes */

/* USER CODE BEGIN PD */
#define SIZE_REDUCE_F0A	0	/* used to reduce code size so that it fits in the FLASH of STSPIN32F0A driver chip */

/* USER CODE END PD */

ADC_HandleTypeDef hadc;
DMA_HandleTypeDef hdma_adc;

TIM_HandleTypeDef htim1;
TIM_HandleTypeDef htim14;

UART_HandleTypeDef huart1;
DMA_HandleTypeDef hdma_usart1_rx;
DMA_HandleTypeDef hdma_usart1_tx;

/* USER CODE BEGIN PV */
#if NO_UART
extern __IO uint8_t g_uart_m2m_comm_data_available;
static uint8_t m_um2m_rx_buf[CONFIG_UART_M2M_BUFFER_SIZE] = {0x00};
static uint8_t m_um2m_tx_buf[CONFIG_UART_M2M_BUFFER_SIZE] = {0x00};
static uint32_t m_um2m_rx_len = 0;
static struct m2m_frame_t frame, resp_frame;
#endif

extern MCT_Handle_t MCT[NBR_OF_MOTORS];
/* USER CODE END PV */

void SystemClock_Config(void);
static void MX_GPIO_Init(void);
static void MX_DMA_Init(void);
static void MX_ADC_Init(void);
static void MX_TIM1_Init(void);
static void MX_TIM14_Init(void);
static void MX_USART1_UART_Init(void);
static void MX_NVIC_Init(void);

/* USER CODE BEGIN 0 */
//#if NO_UART
//static void frame_header_single_make(struct m2m_frame_t *frame) {
//	frame->sof = UART_M2M_START_OF_FRAME;
//	frame->type = UART_M2M_FRAME_SINGLE_RESP;
//	frame->sequence = 0;
//}
//#endif
/* USER CODE END 0 */

int main(void)
{

  /* MCU Configuration--------------------------------------------------------*/

  /* Reset of all peripherals, Initializes the Flash interface and the Systick. */
  HAL_Init();

  /* Configure the system clock */
  SystemClock_Config();

  /* Initialize all configured peripherals */
  MX_GPIO_Init();
  MX_DMA_Init();
  MX_ADC_Init();
  MX_TIM1_Init();
  MX_TIM14_Init();
  MX_USART1_UART_Init();
  MX_MotorControl_Init();

  /* Initialize interrupts */
  MX_NVIC_Init();
  /* USER CODE BEGIN 2 */
#if NO_UART
  /* Enable RXNE and Error interrupts */
  LL_USART_EnableIT_RXNE(USART1);
//  LL_USART_EnableIT_TXE(USART1);
  LL_USART_EnableIT_ERROR(USART1);
#endif
  /* USER CODE END 2 */

  /* Infinite loop */
  /* USER CODE BEGIN WHILE */
  /* Set the default ramp settings */
  HAL_Delay(250);
  MC_ProgramSpeedRampMotor1(DEF_RAMP_SPEED_01HZ, DEF_RAMP_DURATION_MS);
//  MC_StartMotor1();
#if NO_UART
  int ret = -1;
  uart_m2m_comm_set_app_buf(m_um2m_rx_buf, &m_um2m_rx_len);

  char cmd[3] = {0x00};
  uint8_t i=0;
#endif
  while (1)
  {
    /* USER CODE END WHILE */

    /* USER CODE BEGIN 3 */
#if 0
	  uint16_t faults = MC_GetCurrentFaultsMotor1();
	  if (faults != 0) {
		  MC_AcknowledgeFaultMotor1();
		  MC_StopMotor1();
		  HAL_Delay(1000);
		  MC_StartMotor1();
	  }

	  uint16_t state = MC_GetSTMStateMotor1();
	  if ((state != IDLE) || (state != IDLE_START)) {
		  MC_StopMotor1();
		  HAL_Delay(500);
		  MC_StartMotor1();
	  }
#endif

#if NO_UART
		if (g_uart_m2m_comm_data_available) {
			g_uart_m2m_comm_data_available = 0;

			/* decode the frame */
			memset(&frame, 0x00, sizeof(struct m2m_frame_t));
			ret = lib_m2m_frame_decode(m_um2m_rx_buf, m_um2m_rx_len, &frame);
			if (ret < 0) {
				LL_USART_EnableIT_RXNE(USART1);
				continue;
			}

			/* parse the data */
			if (frame.sof != UART_M2M_START_OF_FRAME) {
				LL_USART_EnableIT_RXNE(USART1);
				continue;
			}

			/* extract the command id */
			i=0;
			memset(cmd, 0x00, sizeof (cmd));
			while (frame.payload[i] != ',') {
				cmd[i] = frame.payload[i];
				i++;
			}
			/* the command should not be more the 4 bytes */
			if (i > 4) {
				LL_USART_EnableIT_RXNE(USART1);
				continue;
			}
			uint16_t cmd_id = atoi(cmd);

//			char *tok = strtok(frame.payload, ",\n");
//			uint16_t cmd_id = atoi(tok);

			i++;
//			frame_header_single_make(&resp_frame);
			lib_m2m_frame_header_single_resp_make(&resp_frame);

			switch (cmd_id) {
			case M2M_CMD_ID_DO_SW_RST:
				HAL_NVIC_SystemReset();
				break;

			case M2M_CMD_ID_COMM_CHK:
				if (frame.payload[i] == M2M_CMD_PAYLOAD_GET_CHAR) {
					sprintf((char*)resp_frame.payload, "%d%c%s%c", M2M_CMD_ID_COMM_CHK,
					M2M_CMD_PAYLOAD_DELIM, M2M_CMD_RESP_OK,
					M2M_CMD_PAYLOAD_TERM);
//					resp_frame.payload_len = strlen(resp_frame.payload);
				}
				break;

			case M2M_CMD_ID_BLOWER_STATE:
				if (frame.payload[i] == M2M_CMD_PAYLOAD_GET_CHAR) {
					uint8_t state = BLOWER_OFF;
					if (MC_GetSTMStateMotor1() != IDLE) state = BLOWER_ON;

					sprintf((char*)resp_frame.payload, "%d%c%d%c", M2M_CMD_ID_BLOWER_STATE,
										M2M_CMD_PAYLOAD_DELIM, state,
										M2M_CMD_PAYLOAD_TERM);
				} else {
					bool ret = false;
					if (frame.payload[i] == '1') {
						/* turn motor on */
						ret = MC_StartMotor1();
					}
					else if (frame.payload[i] == '0') {
						/* turn motor off */
						ret = MC_StopMotor1();
					}
					sprintf((char*)resp_frame.payload, "%d%c%s%c",
							M2M_CMD_ID_BLOWER_STATE,
							M2M_CMD_PAYLOAD_DELIM,
							(ret ? M2M_CMD_RESP_OK : M2M_CMD_RESP_ERR),
							M2M_CMD_PAYLOAD_TERM);
				}
				break;

			case M2M_CMD_ID_BLOWER_VOLT_MV:
#if 0
				if (frame.payload[i] == M2M_CMD_PAYLOAD_GET_CHAR) {
					int16_t blower_v = MC_GetPhaseVoltageAmplitudeMotor1();
					blower_v = (blower_v * 12)/(SQRT_3 * 32767);
					sprintf(resp_frame.payload, "%d%s%d%s", M2M_CMD_ID_BLOWER_VOLT_MV,
										M2M_CMD_PAYLOAD_DELIM, blower_v*1000,
										M2M_CMD_PAYLOAD_TERM);
				}
#endif
				break;

			case M2M_CMD_ID_BLOWER_SPEED_RPM:
#if SIZE_REDUCE_F0A
				if (frame.payload[i] == M2M_CMD_PAYLOAD_GET_CHAR) {
					int16_t speed = MC_GetMecSpeedAverageMotor1();
					int speed_rpm = speed*6;
					sprintf((char*)resp_frame.payload, "%d%c%d%c", M2M_CMD_ID_BLOWER_SPEED_RPM,
										M2M_CMD_PAYLOAD_DELIM, speed_rpm, M2M_CMD_PAYLOAD_TERM);
				} else {
					uint8_t j=0, k=3;
					char tmp[7] = {0x00};
					char cmd_state[4] = M2M_CMD_RESP_OK;

					while (frame.payload[k] != M2M_CMD_PAYLOAD_TERM) {
						tmp[j] = frame.payload[k];
						j++;
						k++;
					}
					int32_t speed_in_rpm = atoi(tmp);
					MC_ProgramSpeedRampMotor1(speed_in_rpm/6, 0);
					MCI_CommandState_t state = MC_GetCommandStateMotor1();

					if (state == MCI_COMMAND_EXECUTED_UNSUCCESFULLY)
						memcpy(cmd_state, M2M_CMD_RESP_ERR, 3);

					sprintf((char*)resp_frame.payload, "%d%c%s%c", M2M_CMD_ID_BLOWER_SPEED_RPM,
										M2M_CMD_PAYLOAD_DELIM, cmd_state, M2M_CMD_PAYLOAD_TERM);
				}
#endif
				break;

			case M2M_CMD_ID_BLOWER_DUTY:
				break;

			case M2M_CMD_ID_BLOWER_RUNSTAT:
				if (frame.payload[i] == M2M_CMD_PAYLOAD_GET_CHAR) {
					/* get faults */
					uint16_t faults_occ = MC_GetOccurredFaultsMotor1();
					uint16_t faults_now = MC_GetCurrentFaultsMotor1();

					uint32_t faults = (uint32_t) faults_occ;
					faults |= (uint32_t) (faults_now << 16);

					/* get speed */
					int16_t speed = MC_GetMecSpeedAverageMotor1();
					int speed_rpm = speed*6;

					/* get bus voltage */

					/* get currents */

					/* */
					sprintf((char*)resp_frame.payload, "%d%c%ld%c%d%c", M2M_CMD_ID_BLOWER_RUNSTAT, M2M_CMD_PAYLOAD_DELIM,
							faults, M2M_CMD_PAYLOAD_DELIM,
							speed_rpm,
							M2M_CMD_PAYLOAD_TERM);
				}
				break;

			case M2M_CMD_ID_BLOWER_FLTACK:
			{
				char cmd_state[4] = M2M_CMD_RESP_OK;
				bool ret = MC_AcknowledgeFaultMotor1();
				if (!ret)
					memcpy(cmd_state, M2M_CMD_RESP_ERR, 3);

				sprintf((char*)resp_frame.payload, "%d%c%s%c", M2M_CMD_ID_BLOWER_FLTACK,
									M2M_CMD_PAYLOAD_DELIM, cmd_state, M2M_CMD_PAYLOAD_TERM);
			}
				break;

			case M2M_CMD_ID_BLOWER_SPEED_RAMP:
			{
				uint8_t j=0, k=3;
				char tmp[6+6+2] = {0x00};	/*[speed-6b 0x00 duration-6b 0x00]*/
				char cmd_state[4] = M2M_CMD_RESP_OK;

				while (frame.payload[k] != M2M_CMD_PAYLOAD_TERM) {
					if (frame.payload[k] == M2M_CMD_PAYLOAD_DELIM) {
						/* speed data copied, now copy duration*/
						j = 7;
						k++;
					}
					tmp[j] = frame.payload[k];
					j++;
					k++;
				}

				int32_t speed_in_rpm = atoi(tmp);
				uint16_t dur = atoi(tmp+7);

				MC_ProgramSpeedRampMotor1(speed_in_rpm/6, dur);
				MCI_CommandState_t state = MC_GetCommandStateMotor1();

				if (state == MCI_COMMAND_EXECUTED_UNSUCCESFULLY)
					memcpy(cmd_state, M2M_CMD_RESP_ERR, 3);

				sprintf((char*)resp_frame.payload, "%d%c%s%c", M2M_CMD_ID_BLOWER_SPEED_RAMP,
									M2M_CMD_PAYLOAD_DELIM, cmd_state, M2M_CMD_PAYLOAD_TERM);
			}
				break;
			case M2M_CMD_ID_BLOWER_POWER:
			{
#if SIZE_REDUCE_F0A
				MCT_Handle_t* mct = GetMCT(0);
				int16_t pow_avg = MPM_GetAvrgElMotorPowerW(mct->pMPM);
				int16_t pow_inst = MPM_GetElMotorPowerW(mct->pMPM);
				sprintf((char*)resp_frame.payload, "%d%c%d%c%d%c", M2M_CMD_ID_BLOWER_POWER,
									M2M_CMD_PAYLOAD_DELIM, pow_avg, M2M_CMD_PAYLOAD_DELIM,
									pow_inst, M2M_CMD_PAYLOAD_TERM);
#endif
			}
				break;
			}	// switch

			resp_frame.payload_len = strlen((const char*)resp_frame.payload);
#if USE_CHECKSUM
			/* compute checksum */
			ret = lib_m2m_frame_checksum_compute(&resp_frame);
#endif
			/* serialize the frame and send response */
			/* buffer size = frame header size + pay load size */
			uint32_t sbuf_len = UART_M2M_HEADER_SIZE_MAX+resp_frame.payload_len;
			uint32_t sdata_len=0;
			lib_m2m_frame_serialize(m_um2m_tx_buf, sbuf_len, &resp_frame, &sdata_len);

			/* transmit the frame */
//			if (HAL_UART_Transmit(&huart1, m_um2m_tx_buf, sdata_len, 500) != HAL_OK) {
//				Error_Handler();
//			}

		  if(HAL_UART_Transmit_IT(&huart1, (uint8_t*)m_um2m_tx_buf, sdata_len)!= HAL_OK) {
		    /* Transfer error in transmission process */
		    Error_Handler();
		  }

		  /* enable USART RX Interrupt */
		  LL_USART_EnableIT_RXNE(USART1);
		}
#endif
	}
  /* USER CODE END 3 */
}

void SystemClock_Config(void)
{
  RCC_OscInitTypeDef RCC_OscInitStruct = {0};
  RCC_ClkInitTypeDef RCC_ClkInitStruct = {0};
  RCC_PeriphCLKInitTypeDef PeriphClkInit = {0};

  /** Initializes the RCC Oscillators according to the specified parameters
  * in the RCC_OscInitTypeDef structure.
  */
  RCC_OscInitStruct.OscillatorType = RCC_OSCILLATORTYPE_HSI|RCC_OSCILLATORTYPE_HSI14;
  RCC_OscInitStruct.HSIState = RCC_HSI_ON;
  RCC_OscInitStruct.HSI14State = RCC_HSI14_ON;
  RCC_OscInitStruct.HSICalibrationValue = RCC_HSICALIBRATION_DEFAULT;
  RCC_OscInitStruct.HSI14CalibrationValue = 16;
  RCC_OscInitStruct.PLL.PLLState = RCC_PLL_ON;
  RCC_OscInitStruct.PLL.PLLSource = RCC_PLLSOURCE_HSI;
  RCC_OscInitStruct.PLL.PLLMUL = RCC_PLL_MUL12;
  RCC_OscInitStruct.PLL.PREDIV = RCC_PREDIV_DIV1;
  if (HAL_RCC_OscConfig(&RCC_OscInitStruct) != HAL_OK)
  {
    Error_Handler();
  }

  /** Initializes the CPU, AHB and APB buses clocks
  */
  RCC_ClkInitStruct.ClockType = RCC_CLOCKTYPE_HCLK|RCC_CLOCKTYPE_SYSCLK
                              |RCC_CLOCKTYPE_PCLK1;
  RCC_ClkInitStruct.SYSCLKSource = RCC_SYSCLKSOURCE_PLLCLK;
  RCC_ClkInitStruct.AHBCLKDivider = RCC_SYSCLK_DIV1;
  RCC_ClkInitStruct.APB1CLKDivider = RCC_HCLK_DIV1;

  if (HAL_RCC_ClockConfig(&RCC_ClkInitStruct, FLASH_LATENCY_1) != HAL_OK)
  {
    Error_Handler();
  }
  PeriphClkInit.PeriphClockSelection = RCC_PERIPHCLK_USART1;
  PeriphClkInit.Usart1ClockSelection = RCC_USART1CLKSOURCE_PCLK1;
  if (HAL_RCCEx_PeriphCLKConfig(&PeriphClkInit) != HAL_OK)
  {
    Error_Handler();
  }

  /** Enables the Clock Security System
  */
  HAL_RCC_EnableCSS();
}

/**
  * @brief NVIC Configuration.
  * @retval None
  */
static void MX_NVIC_Init(void)
{
  /* TIM1_BRK_UP_TRG_COM_IRQn interrupt configuration */
  HAL_NVIC_SetPriority(TIM1_BRK_UP_TRG_COM_IRQn, 0, 0);
  HAL_NVIC_EnableIRQ(TIM1_BRK_UP_TRG_COM_IRQn);
  /* DMA1_Channel1_IRQn interrupt configuration */
  HAL_NVIC_SetPriority(DMA1_Channel1_IRQn, 1, 0);
  HAL_NVIC_EnableIRQ(DMA1_Channel1_IRQn);
  /* USART1_IRQn interrupt configuration */
  HAL_NVIC_SetPriority(USART1_IRQn, 3, 0);
  HAL_NVIC_EnableIRQ(USART1_IRQn);
}

static void MX_ADC_Init(void)
{

  ADC_ChannelConfTypeDef sConfig = {0};

  /** Configure the global features of the ADC (Clock, Resolution, Data Alignment and number of conversion)
  */
  hadc.Instance = ADC1;
  hadc.Init.ClockPrescaler = ADC_CLOCK_ASYNC_DIV1;
  hadc.Init.Resolution = ADC_RESOLUTION_12B;
  hadc.Init.DataAlign = ADC_DATAALIGN_LEFT;
  hadc.Init.ScanConvMode = ADC_SCAN_DIRECTION_FORWARD;
  hadc.Init.EOCSelection = ADC_EOC_SINGLE_CONV;
  hadc.Init.LowPowerAutoWait = DISABLE;
  hadc.Init.LowPowerAutoPowerOff = DISABLE;
  hadc.Init.ContinuousConvMode = DISABLE;
  hadc.Init.DiscontinuousConvMode = DISABLE;
  hadc.Init.ExternalTrigConv = ADC_EXTERNALTRIGCONV_T1_TRGO;
  hadc.Init.ExternalTrigConvEdge = ADC_EXTERNALTRIGCONVEDGE_RISING;
  hadc.Init.DMAContinuousRequests = ENABLE;
  hadc.Init.Overrun = ADC_OVR_DATA_PRESERVED;
  if (HAL_ADC_Init(&hadc) != HAL_OK)
  {
    Error_Handler();
  }

  /** Configure for the selected ADC regular channel to be converted.
  */
  sConfig.Channel = ADC_CHANNEL_3;
  sConfig.Rank = ADC_RANK_CHANNEL_NUMBER;
  sConfig.SamplingTime = ADC_SAMPLETIME_7CYCLES_5;
  if (HAL_ADC_ConfigChannel(&hadc, &sConfig) != HAL_OK)
  {
    Error_Handler();
  }

  /** Configure for the selected ADC regular channel to be converted.
  */
  sConfig.Channel = ADC_CHANNEL_4;
  if (HAL_ADC_ConfigChannel(&hadc, &sConfig) != HAL_OK)
  {
    Error_Handler();
  }

  /** Configure for the selected ADC regular channel to be converted.
  */
  sConfig.Channel = ADC_CHANNEL_5;
  if (HAL_ADC_ConfigChannel(&hadc, &sConfig) != HAL_OK)
  {
    Error_Handler();
  }

  /** Configure for the selected ADC regular channel to be converted.
  */
  sConfig.Channel = ADC_CHANNEL_9;
  if (HAL_ADC_ConfigChannel(&hadc, &sConfig) != HAL_OK)
  {
    Error_Handler();
  }

}

static void MX_TIM1_Init(void)
{

  TIM_MasterConfigTypeDef sMasterConfig = {0};
  TIM_OC_InitTypeDef sConfigOC = {0};
  TIM_BreakDeadTimeConfigTypeDef sBreakDeadTimeConfig = {0};

  htim1.Instance = TIM1;
  htim1.Init.Prescaler = ((TIM_CLOCK_DIVIDER) - 1);
  htim1.Init.CounterMode = TIM_COUNTERMODE_CENTERALIGNED1;
  htim1.Init.Period = ((PWM_PERIOD_CYCLES) / 2);
  htim1.Init.ClockDivision = TIM_CLOCKDIVISION_DIV2;
  htim1.Init.RepetitionCounter = (REP_COUNTER);
  htim1.Init.AutoReloadPreload = TIM_AUTORELOAD_PRELOAD_DISABLE;
  if (HAL_TIM_PWM_Init(&htim1) != HAL_OK)
  {
    Error_Handler();
  }
  sMasterConfig.MasterOutputTrigger = TIM_TRGO_OC4REF;
  sMasterConfig.MasterSlaveMode = TIM_MASTERSLAVEMODE_DISABLE;
  if (HAL_TIMEx_MasterConfigSynchronization(&htim1, &sMasterConfig) != HAL_OK)
  {
    Error_Handler();
  }
  sConfigOC.OCMode = TIM_OCMODE_PWM1;
  sConfigOC.Pulse = 0;
  sConfigOC.OCPolarity = TIM_OCPOLARITY_HIGH;
  sConfigOC.OCNPolarity = TIM_OCNPOLARITY_HIGH;
  sConfigOC.OCFastMode = TIM_OCFAST_DISABLE;
  sConfigOC.OCIdleState = TIM_OCIDLESTATE_RESET;
  sConfigOC.OCNIdleState = TIM_OCNIDLESTATE_RESET;
  if (HAL_TIM_PWM_ConfigChannel(&htim1, &sConfigOC, TIM_CHANNEL_1) != HAL_OK)
  {
    Error_Handler();
  }
  if (HAL_TIM_PWM_ConfigChannel(&htim1, &sConfigOC, TIM_CHANNEL_2) != HAL_OK)
  {
    Error_Handler();
  }
  if (HAL_TIM_PWM_ConfigChannel(&htim1, &sConfigOC, TIM_CHANNEL_3) != HAL_OK)
  {
    Error_Handler();
  }
  sConfigOC.OCMode = TIM_OCMODE_PWM2;
  sConfigOC.Pulse = (((PWM_PERIOD_CYCLES) / 2) - (HTMIN));
  if (HAL_TIM_PWM_ConfigChannel(&htim1, &sConfigOC, TIM_CHANNEL_4) != HAL_OK)
  {
    Error_Handler();
  }
  sBreakDeadTimeConfig.OffStateRunMode = TIM_OSSR_ENABLE;
  sBreakDeadTimeConfig.OffStateIDLEMode = TIM_OSSI_ENABLE;
  sBreakDeadTimeConfig.LockLevel = TIM_LOCKLEVEL_1;
  sBreakDeadTimeConfig.DeadTime = ((DEAD_TIME_COUNTS) / 2);
  sBreakDeadTimeConfig.BreakState = TIM_BREAK_ENABLE;
  sBreakDeadTimeConfig.BreakPolarity = TIM_BREAKPOLARITY_HIGH;
  sBreakDeadTimeConfig.AutomaticOutput = TIM_AUTOMATICOUTPUT_DISABLE;
  if (HAL_TIMEx_ConfigBreakDeadTime(&htim1, &sBreakDeadTimeConfig) != HAL_OK)
  {
    Error_Handler();
  }
  HAL_TIM_MspPostInit(&htim1);

}

static void MX_TIM14_Init(void)
{

  TIM_OC_InitTypeDef sConfigOC = {0};

  htim14.Instance = TIM14;
  htim14.Init.Prescaler = 0;
  htim14.Init.CounterMode = TIM_COUNTERMODE_UP;
  htim14.Init.Period = 0x800;
  htim14.Init.ClockDivision = TIM_CLOCKDIVISION_DIV1;
  htim14.Init.AutoReloadPreload = TIM_AUTORELOAD_PRELOAD_DISABLE;
  if (HAL_TIM_Base_Init(&htim14) != HAL_OK)
  {
    Error_Handler();
  }
  if (HAL_TIM_PWM_Init(&htim14) != HAL_OK)
  {
    Error_Handler();
  }
  sConfigOC.OCMode = TIM_OCMODE_PWM1;
  sConfigOC.Pulse = 0x400;
  sConfigOC.OCPolarity = TIM_OCPOLARITY_HIGH;
  sConfigOC.OCFastMode = TIM_OCFAST_DISABLE;
  if (HAL_TIM_PWM_ConfigChannel(&htim14, &sConfigOC, TIM_CHANNEL_1) != HAL_OK)
  {
    Error_Handler();
  }
  HAL_TIM_MspPostInit(&htim14);

}

static void MX_USART1_UART_Init(void)
{

  huart1.Instance = USART1;
  huart1.Init.BaudRate = 4800;
  huart1.Init.WordLength = UART_WORDLENGTH_8B;
  huart1.Init.StopBits = UART_STOPBITS_1;
  huart1.Init.Parity = UART_PARITY_NONE;
  huart1.Init.Mode = UART_MODE_TX_RX;
  huart1.Init.HwFlowCtl = UART_HWCONTROL_NONE;
  huart1.Init.OverSampling = UART_OVERSAMPLING_16;
  huart1.Init.OneBitSampling = UART_ONE_BIT_SAMPLE_DISABLE;
  huart1.AdvancedInit.AdvFeatureInit = UART_ADVFEATURE_NO_INIT;
  if (HAL_UART_Init(&huart1) != HAL_OK)
  {
    Error_Handler();
  }

}

static void MX_DMA_Init(void)
{

  /* DMA controller clock enable */
  __HAL_RCC_DMA1_CLK_ENABLE();

  /* DMA interrupt init */
  /* DMA1_Channel2_3_IRQn interrupt configuration */
  HAL_NVIC_SetPriority(DMA1_Channel2_3_IRQn, 0, 0);
  HAL_NVIC_EnableIRQ(DMA1_Channel2_3_IRQn);

}

static void MX_GPIO_Init(void)
{
  GPIO_InitTypeDef GPIO_InitStruct = {0};

  /* GPIO Ports Clock Enable */
  __HAL_RCC_GPIOA_CLK_ENABLE();
  __HAL_RCC_GPIOB_CLK_ENABLE();
  __HAL_RCC_GPIOF_CLK_ENABLE();

  /*Configure GPIO pin Output Level */
  HAL_GPIO_WritePin(OC_SEL_GPIO_Port, OC_SEL_Pin, GPIO_PIN_SET);

  /*Configure GPIO pin Output Level */
  HAL_GPIO_WritePin(_3FG_HIZ_GPIO_Port, _3FG_HIZ_Pin, GPIO_PIN_RESET);

  /*Configure GPIO pin Output Level */
  HAL_GPIO_WritePin(OCTH_STBY2_GPIO_Port, OCTH_STBY2_Pin, GPIO_PIN_SET);

  /*Configure GPIO pin Output Level */
  HAL_GPIO_WritePin(OCTH_STBY1_GPIO_Port, OCTH_STBY1_Pin, GPIO_PIN_RESET);

  /*Configure GPIO pins : OC_SEL_Pin _3FG_HIZ_Pin */
  GPIO_InitStruct.Pin = OC_SEL_Pin|_3FG_HIZ_Pin;
  GPIO_InitStruct.Mode = GPIO_MODE_OUTPUT_PP;
  GPIO_InitStruct.Pull = GPIO_PULLDOWN;
  GPIO_InitStruct.Speed = GPIO_SPEED_FREQ_LOW;
  HAL_GPIO_Init(GPIOA, &GPIO_InitStruct);

  /*Configure GPIO pins : OCTH_STBY2_Pin OCTH_STBY1_Pin */
  GPIO_InitStruct.Pin = OCTH_STBY2_Pin|OCTH_STBY1_Pin;
  GPIO_InitStruct.Mode = GPIO_MODE_OUTPUT_PP;
  GPIO_InitStruct.Pull = GPIO_PULLDOWN;
  GPIO_InitStruct.Speed = GPIO_SPEED_FREQ_LOW;
  HAL_GPIO_Init(GPIOF, &GPIO_InitStruct);

}

void Error_Handler(void)
{
  __disable_irq();
  while (1)
  {
  }
}
